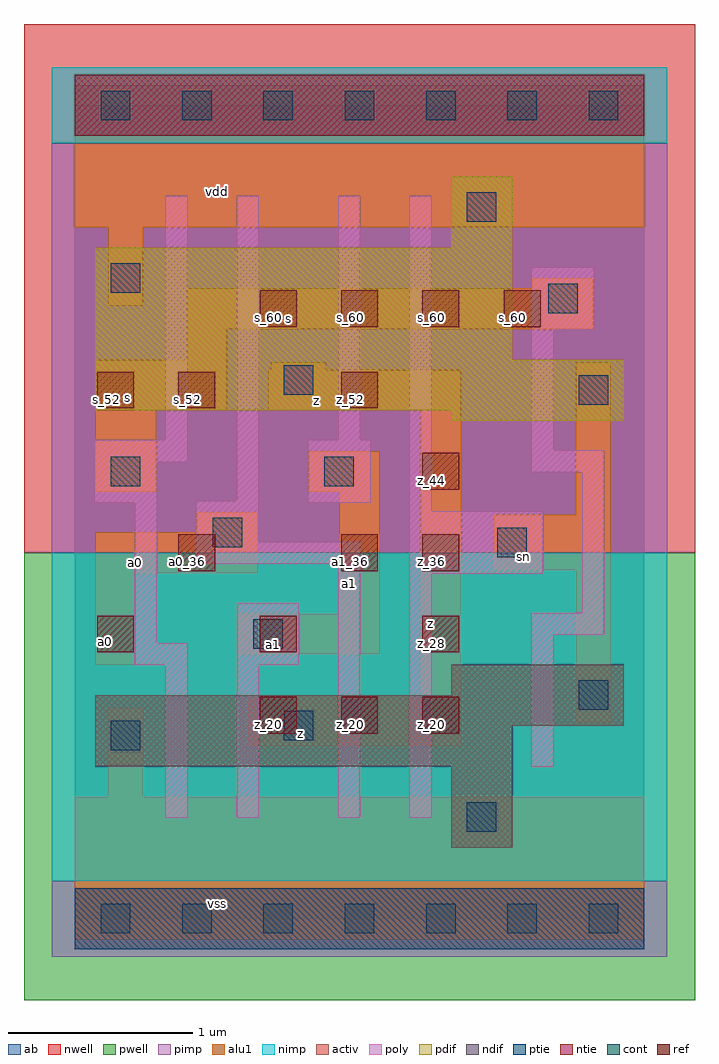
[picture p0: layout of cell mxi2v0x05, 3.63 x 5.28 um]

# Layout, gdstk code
import gdstk
lib = gdstk.Library(unit=1e-6, precision=2.5e-09)
def R(c, l, rs):  # rectangles x0, y0, x1, y1
    for r in rs: c.add(gdstk.rectangle(r[:2], r[2:], *l))
def A(c, l, x, y, w, h, nx, ny, dx, dy):  # array of equal rectangles
    R(c, l, [(x+i*dx, y+j*dy, x+i*dx+w, y+j*dy+h) for i in range(nx) for j in range(ny)])
ndif = (3, 0)
pdif = (4, 0)
ntie = (5, 0)
ptie = (6, 0)
ref = (24, 0)
cont = (25, 0)
pwell = (41, 0)
nwell = (42, 0)
activ = (43, 0)
pimp = (44, 0)
nimp = (45, 0)
poly = (46, 0)
alu1 = (49, 0)
ab = (63, 0)

mxi2v0x05 = lib.new_cell('mxi2v0x05')
R(mxi2v0x05, ndif, [(2.035,0.385,2.365,0.825), (0.11,0.825,2.365,1.045), (0.11,1.045,2.97,1.21), (2.035,1.21,2.97,1.375)])
R(mxi2v0x05, pdif, [(2.035,2.695,2.97,2.75), (0.11,2.75,2.97,3.025), (0.11,3.025,2.365,3.63), (2.035,3.63,2.365,4.015)])
R(mxi2v0x05, ntie, [(0,4.235,3.08,4.565)])
R(mxi2v0x05, ptie, [(0,-0.165,3.08,0.165)])
A(mxi2v0x05, ref, 1, 1, 0.2, 0.2, 3, 1, 0.44, 0)
A(mxi2v0x05, ref, 0.12, 1.44, 0.2, 0.2, 3, 1, 0.88, 0)
A(mxi2v0x05, ref, 1, 3.2, 0.2, 0.2, 4, 1, 0.44, 0)
R(mxi2v0x05, ref, [(0.56,1.88,0.76,2.08), (1.44,1.88,1.64,2.08), (1.88,1.88,2.08,2.08), (1.88,2.32,2.08,2.52), (0.12,2.76,0.32,2.96), (0.56,2.76,0.76,2.96), (1.44,2.76,1.64,2.96)])
A(mxi2v0x05, cont, 0.14, -0.08, 0.16, 0.16, 7, 2, 0.44, 4.4)
R(mxi2v0x05, cont, [(2.12,0.47,2.28,0.63), (0.195,0.91,0.355,1.07), (1.13,0.965,1.29,1.125), (2.725,1.13,2.885,1.29), (0.965,1.46,1.125,1.62), (2.285,1.955,2.445,2.115), (0.745,2.01,0.905,2.17), (0.195,2.34,0.355,2.5), (1.35,2.34,1.51,2.5), (2.725,2.78,2.885,2.94), (1.13,2.835,1.29,2.995), (2.56,3.275,2.72,3.435), (0.195,3.385,0.355,3.545), (2.12,3.77,2.28,3.93)])
R(mxi2v0x05, pwell, [(-0.275,-0.44,3.355,1.98)])
R(mxi2v0x05, nwell, [(-0.275,1.98,3.355,4.84)])
R(mxi2v0x05, activ, [(0,-0.165,3.08,0.165), (2.035,0.385,2.365,0.825), (0.11,0.825,2.365,1.045), (0.11,1.045,2.97,1.21), (2.035,1.21,2.97,1.375), (2.035,2.695,2.97,2.75), (0.11,2.75,2.97,3.025), (0.11,3.025,2.365,3.63), (2.035,3.63,2.365,4.015), (0,4.235,3.08,4.565)])
R(mxi2v0x05, pimp, [(-0.125,-0.205,3.205,0.205), (-0.125,1.98,3.205,4.195)])
R(mxi2v0x05, nimp, [(-0.125,0.205,3.205,1.98), (-0.125,4.195,3.205,4.605)])
R(mxi2v0x05, poly, [(0.49,0.545,0.61,1.37), (0.875,0.545,0.995,1.37), (1.425,0.545,1.545,1.92), (1.81,0.545,1.93,1.865), (2.47,0.82,2.59,1.535), (0.325,1.37,0.61,1.49), (0.875,1.37,1.215,1.71), (0.325,1.49,0.445,2.25), (2.47,1.535,2.865,1.655), (2.745,1.655,2.865,2.415), (1.81,1.865,2.535,2.205), (0.655,1.92,1.545,2.04), (0.655,2.04,0.995,2.26), (1.81,2.205,1.93,3.91), (0.105,2.25,0.445,2.47), (1.26,2.25,1.6,2.59), (0.875,2.26,0.995,3.91), (2.47,2.415,2.865,2.535), (0.105,2.47,0.61,2.59), (2.47,2.535,2.59,3.185), (0.49,2.59,0.61,3.91), (1.425,2.59,1.545,3.91), (2.47,3.185,2.81,3.525)])
R(mxi2v0x05, alu1, [(0,-0.11,3.08,0.66), (0.18,0.66,0.37,1.14), (0.935,0.935,2.09,1.21), (2.71,1.06,2.9,1.885), (1.87,1.21,2.09,2.75), (0.11,1.375,0.33,1.87), (0.88,1.43,1.65,1.65), (1.43,1.65,1.65,2.31), (0.11,1.87,0.99,2.09), (2.27,1.885,2.9,2.185), (0.66,2.09,0.99,2.2), (2.71,2.185,2.9,3.01), (0.11,2.31,0.44,2.75), (1.265,2.31,1.65,2.53), (0.11,2.75,0.825,3.025), (1.045,2.75,2.09,2.97), (1.06,2.97,1.36,3.01), (0.605,3.025,0.825,3.19), (0.605,3.19,2.805,3.41), (0.18,3.315,0.37,3.74), (2.475,3.41,2.805,3.465), (0,3.74,3.08,4.51)])
R(mxi2v0x05, ab, [(0,0,3.08,4.4)])
mxi2v0x05.add(gdstk.Label('vss', (0.77,0.0825), layer=49, texttype=0))
mxi2v0x05.add(gdstk.Label('z', (1.2225,1.0025), layer=49, texttype=0))
mxi2v0x05.add(gdstk.Label('sn', (2.4275,1.96), layer=49, texttype=0))
mxi2v0x05.add(gdstk.Label('z', (1.925,1.595), layer=49, texttype=0))
mxi2v0x05.add(gdstk.Label('a1', (1.0725,1.485), layer=49, texttype=0))
mxi2v0x05.add(gdstk.Label('a1', (1.485,1.815), layer=49, texttype=0))
mxi2v0x05.add(gdstk.Label('a0', (0.165,1.4975), layer=49, texttype=0))
mxi2v0x05.add(gdstk.Label('a0', (0.33,1.925), layer=49, texttype=0))
mxi2v0x05.add(gdstk.Label('z', (1.305,2.805), layer=49, texttype=0))
mxi2v0x05.add(gdstk.Label('s', (0.2875,2.8175), layer=49, texttype=0))
mxi2v0x05.add(gdstk.Label('s', (1.155,3.245), layer=49, texttype=0))
mxi2v0x05.add(gdstk.Label('vdd', (0.77,3.9325), layer=49, texttype=0))
mxi2v0x05.add(gdstk.Label('s_60', (2.37,3.25), layer=24, texttype=0))
mxi2v0x05.add(gdstk.Label('s_52', (0.17,2.81), layer=24, texttype=0))
mxi2v0x05.add(gdstk.Label('a0_28', (0.17,1.49), layer=24, texttype=0))
mxi2v0x05.add(gdstk.Label('s_60', (1.93,3.25), layer=24, texttype=0))
mxi2v0x05.add(gdstk.Label('z_44', (1.93,2.37), layer=24, texttype=0))
mxi2v0x05.add(gdstk.Label('z_36', (1.93,1.93), layer=24, texttype=0))
mxi2v0x05.add(gdstk.Label('z_28', (1.93,1.49), layer=24, texttype=0))
mxi2v0x05.add(gdstk.Label('z_20', (1.93,1.05), layer=24, texttype=0))
mxi2v0x05.add(gdstk.Label('s_60', (1.49,3.25), layer=24, texttype=0))
mxi2v0x05.add(gdstk.Label('z_52', (1.49,2.81), layer=24, texttype=0))
mxi2v0x05.add(gdstk.Label('a1_36', (1.49,1.93), layer=24, texttype=0))
mxi2v0x05.add(gdstk.Label('z_20', (1.49,1.05), layer=24, texttype=0))
mxi2v0x05.add(gdstk.Label('s_60', (1.05,3.25), layer=24, texttype=0))
mxi2v0x05.add(gdstk.Label('a1_28', (1.05,1.49), layer=24, texttype=0))
mxi2v0x05.add(gdstk.Label('z_20', (1.05,1.05), layer=24, texttype=0))
mxi2v0x05.add(gdstk.Label('s_52', (0.61,2.81), layer=24, texttype=0))
mxi2v0x05.add(gdstk.Label('a0_36', (0.61,1.93), layer=24, texttype=0))

lib.write_gds('mxi2v0x05.gds')
